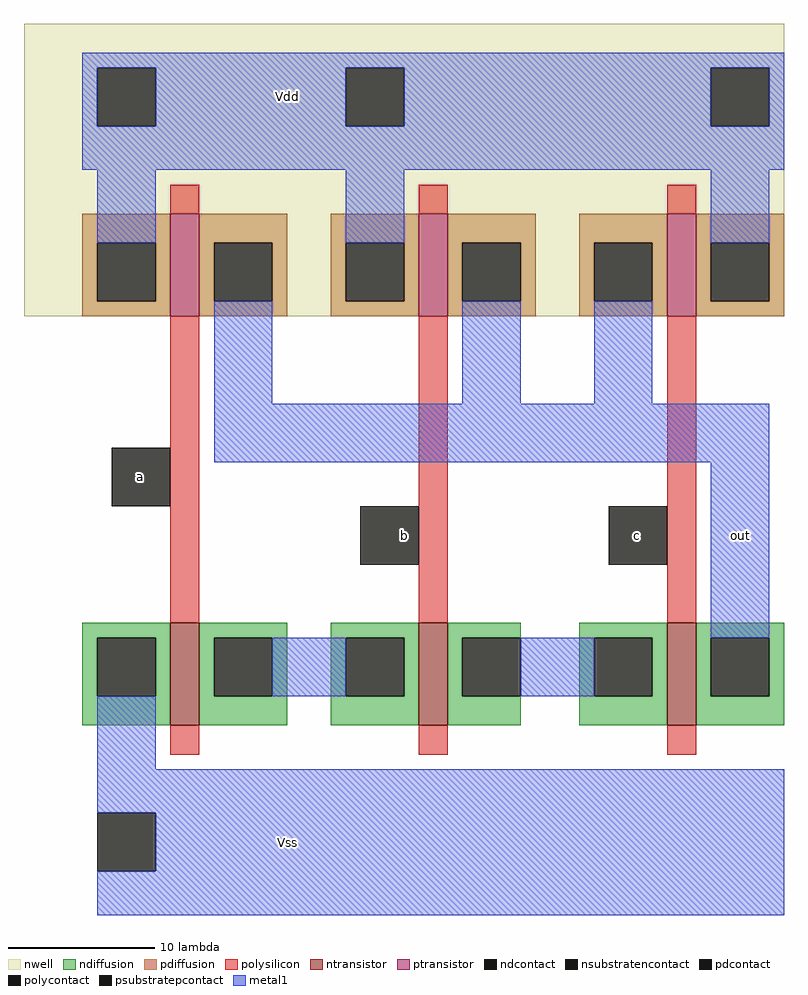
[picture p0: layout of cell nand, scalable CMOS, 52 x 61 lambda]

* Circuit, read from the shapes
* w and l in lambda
.subckt nand Vdd Vss a b c out
M1 n1 a Vss Vss nfet w=7 l=2
M2 n2 b n1 Vss nfet w=7 l=2
M3 out c n2 Vss nfet w=7 l=2
M4 out a Vdd Vdd pfet w=7 l=2
M5 out b Vdd Vdd pfet w=7 l=2
M6 Vdd c out Vdd pfet w=7 l=2
.ends

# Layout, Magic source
magic
tech scmos
<< nwell >>
rect -4 46 48 66
<< polysilicon >>
rect 6 53 8 55
rect 23 53 25 55
rect 40 53 42 55
rect 6 25 8 46
rect 23 25 25 46
rect 40 25 42 46
rect 6 16 8 18
rect 23 16 25 18
rect 40 16 42 18
<< ndiffusion >>
rect 0 24 6 25
rect 0 20 1 24
rect 5 20 6 24
rect 0 18 6 20
rect 8 24 14 25
rect 8 20 9 24
rect 13 20 14 24
rect 8 18 14 20
rect 17 24 23 25
rect 17 20 18 24
rect 22 20 23 24
rect 17 18 23 20
rect 25 24 30 25
rect 25 20 26 24
rect 25 18 30 20
rect 34 24 40 25
rect 34 20 35 24
rect 39 20 40 24
rect 34 18 40 20
rect 42 24 48 25
rect 42 20 43 24
rect 47 20 48 24
rect 42 18 48 20
<< pdiffusion >>
rect 0 51 6 53
rect 0 47 1 51
rect 5 47 6 51
rect 0 46 6 47
rect 8 51 14 53
rect 8 47 9 51
rect 13 47 14 51
rect 8 46 14 47
rect 17 51 23 53
rect 17 47 18 51
rect 22 47 23 51
rect 17 46 23 47
rect 25 51 31 53
rect 25 47 26 51
rect 30 47 31 51
rect 25 46 31 47
rect 34 51 40 53
rect 34 47 35 51
rect 39 47 40 51
rect 34 46 40 47
rect 42 51 48 53
rect 42 47 43 51
rect 47 47 48 51
rect 42 46 48 47
<< metal1 >>
rect 0 63 48 64
rect 0 59 1 63
rect 5 59 18 63
rect 22 59 43 63
rect 47 59 48 63
rect 0 56 48 59
rect 1 51 5 56
rect 18 51 22 56
rect 43 51 47 56
rect 9 40 13 47
rect 26 40 30 47
rect 35 40 39 47
rect 9 36 47 40
rect 43 24 47 36
rect 13 20 18 24
rect 30 20 35 24
rect 1 15 5 20
rect 1 12 48 15
rect 5 8 48 12
rect 1 5 48 8
<< ntransistor >>
rect 6 18 8 25
rect 23 18 25 25
rect 40 18 42 25
<< ptransistor >>
rect 6 46 8 53
rect 23 46 25 53
rect 40 46 42 53
<< polycontact >>
rect 2 33 6 37
rect 19 29 23 33
rect 36 29 40 33
<< ndcontact >>
rect 1 20 5 24
rect 9 20 13 24
rect 18 20 22 24
rect 26 20 30 24
rect 35 20 39 24
rect 43 20 47 24
<< pdcontact >>
rect 1 47 5 51
rect 9 47 13 51
rect 18 47 22 51
rect 26 47 30 51
rect 35 47 39 51
rect 43 47 47 51
<< psubstratepcontact >>
rect 1 8 5 12
<< nsubstratencontact >>
rect 1 59 5 63
rect 18 59 22 63
rect 43 59 47 63
<< labels >>
rlabel polycontact 22 31 22 31 1 b
rlabel polycontact 4 35 4 35 3 a
rlabel metal1 45 31 45 31 7 out
rlabel polycontact 38 31 38 31 1 c
rlabel metal1 14 61 14 61 5 Vdd
rlabel metal1 14 10 14 10 1 Vss
<< end >>
